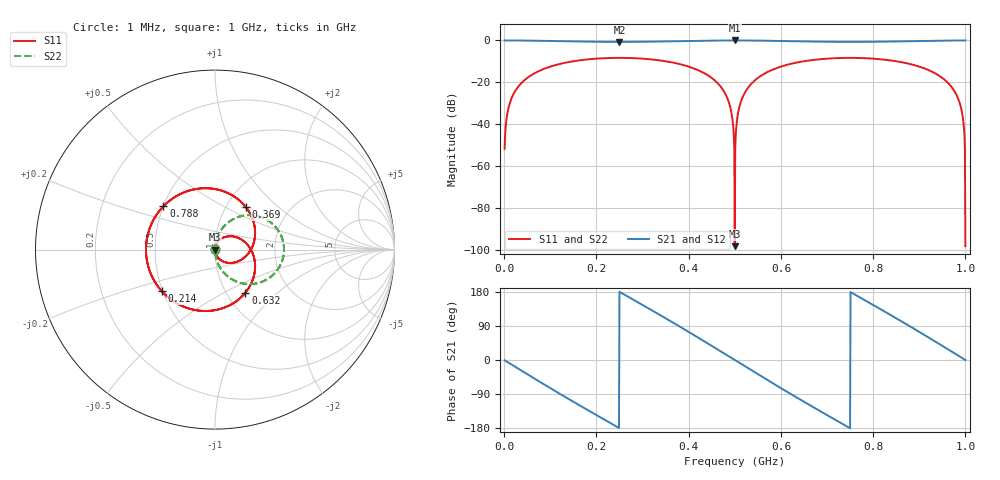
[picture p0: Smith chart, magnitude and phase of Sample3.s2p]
! Created Thu Jan 13 12:57:19 2011
# hz S ma R 50
! 2 Port Network Data from SP1.SP block
! freq  magS11  angS11  magS21  angS21  magS12  angS12  magS22  angS22
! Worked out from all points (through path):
!   1000 points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, 1 MHz to 1 GHz, reference 50 ohm
!   highest |S21| = 0.00 dB at 500 MHz (marker M1); lowest = -0.7 dB at 250 MHz (marker M2)
!   group delay of S21, straight-line fit = 1.99 ns
!   lowest |S11| = -98.1 dB at 500 MHz (marker M3), VSWR 1.00, Z = 50 + j0.00125 ohm
!   |S11| at or under -10 dB: start of sweep to 147.6 MHz; 352.4 MHz to 647.6 MHz (295.2 MHz wide, 59 % of centre); 852.4 MHz to end of sweep
!   |S22| runs from -98.1 to -8.3 dB; largest |S21 - S12| = 0
!   S11 on the Smith chart (normalised r, x): 1 MHz: 1.00, +0.01; 214 MHz: 0.49, -0.27; 369 MHz: 1.24, +0.64; 632 MHz: 1.22, -0.64; 788 MHz: 0.50, +0.28; 1 GHz: 1.00, +0.00
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1000000  0.002618 88.9  1 -0.7  1 -0.7  0.002618 89.6
1.3e7  0.03398 75.6  0.9994 -9.7  0.9994 -9.7  0.03398 84.9
3.8e7  0.09807 47.9  0.9952 -28.5  0.9952 -28.5  0.09807 75.2
1.68e8  0.3409 -93.4  0.9401 -122.9  0.9401 -122.9  0.3409 27.6
2.14e8  0.3762 -142.1  0.9265 -155.0  0.9265 -155.0  0.3762 12.0
2.5e8  0.3846 180.0  0.9231 180.0  0.9231 180.0  0.3846 -0.0
3.34e8  0.3387 91.2  0.9409 121.5  0.9409 121.5  0.3387 -28.3
3.69e8  0.2922 53.8  0.9564 96.6  0.9564 96.6  0.2922 -40.6
4.69e8  0.08038 -55.6  0.9968 23.2  0.9968 23.2  0.08038 -77.9
4.88e8  0.03137 -76.7  0.9995 9.0  0.9995 9.0  0.03137 -85.3
5e8  1.25e-05 90.0  1 -0.0  1 -0.0  1.25e-05 90.0
5.01e8  0.002618 88.9  1 -0.7  1 -0.7  0.002618 89.6
5.12e8  0.03137 76.7  0.9995 -9.0  0.9995 -9.0  0.03137 85.3
5.31e8  0.08038 55.6  0.9968 -23.2  0.9968 -23.2  0.08038 77.9
6.32e8  0.2937 -54.8  0.9559 -97.3  0.9559 -97.3  0.2937 40.2
6.67e8  0.3398 -92.3  0.9405 -122.2  0.9405 -122.2  0.3398 27.9
7.88e8  0.3753 140.0  0.9269 153.7  0.9269 153.7  0.3753 -12.7
8.34e8  0.3387 91.2  0.9409 121.5  0.9409 121.5  0.3387 -28.3
9.02e8  0.234 18.0  0.9722 72.7  0.9722 72.7  0.234 -52.5
9.73e8  0.07017 -60.0  0.9975 20.2  0.9975 20.2  0.07017 -79.5
9.93e8  0.01832 -82.2  0.9998 5.2  0.9998 5.2  0.01832 -87.3
1e9  1.25e-05 90.0  1 -0.0  1 -0.0  1.25e-05 90.0
